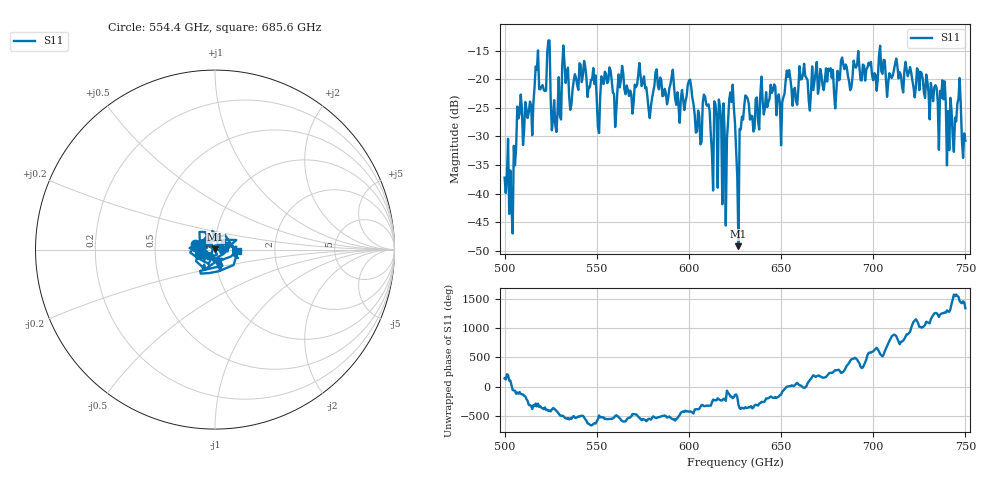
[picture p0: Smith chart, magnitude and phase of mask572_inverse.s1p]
!Created with skrf (http://scikit-rf.org).
# GHz S MA R 50.0
!freq magS11 angS11
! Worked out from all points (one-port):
!   401 points, 500 GHz to 750 GHz, reference 50 ohm
!   lowest |S11| = -49.2 dB at 626.9 GHz (marker M1), VSWR 1.01, Z = 50.2 + j0.257 ohm
!   |S11| at or under -10 dB: start of sweep to end of sweep
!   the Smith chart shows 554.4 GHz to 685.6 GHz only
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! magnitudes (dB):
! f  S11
! 500 GHz  -37.2
! 503.8 GHz  -42.6
! 508.1 GHz  -26.0
! 513.8 GHz  -23.9
! 517.5 GHz  -18.4
! 523.8 GHz  -13.2
! 526.9 GHz  -23.7
! 531.2 GHz  -17.7
! 542.5 GHz  -19.3
! 551.2 GHz  -29.4
! 562.5 GHz  -21.4
! 593.8 GHz  -22.3
! 600.6 GHz  -20.1
! 605.6 GHz  -26.5
! 609.4 GHz  -24.4
! 619.4 GHz  -29.2
! 622.5 GHz  -22.3
! 625 GHz  -27.7
! 626.9 GHz  -49.2
! 631.2 GHz  -23.0
! 634.4 GHz  -26.5
! 656.2 GHz  -24.6
! 687.5 GHz  -21.9
! 718.8 GHz  -19.5
! 737.5 GHz  -20.2
! 742.5 GHz  -25.5
! 746.2 GHz  -23.4
! 750 GHz  -30.7
